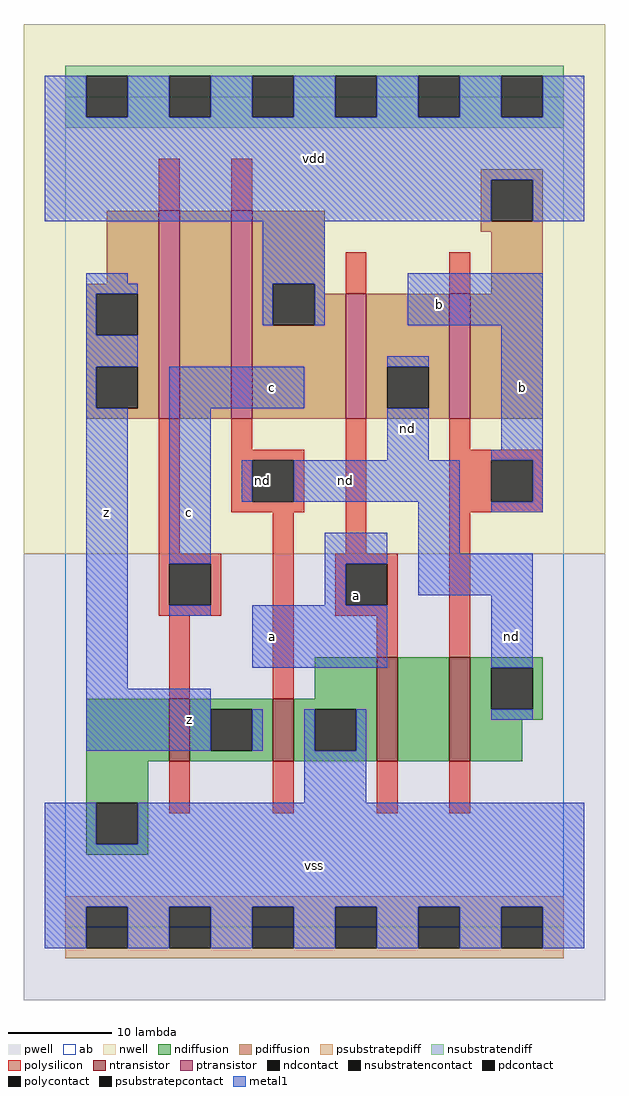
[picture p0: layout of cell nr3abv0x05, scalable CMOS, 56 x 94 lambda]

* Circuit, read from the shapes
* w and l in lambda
.subckt nr3abv0x05 a b c nd vdd vss z
M1 z c vss vss nfet w=6 l=2
M2 vss nd z vss nfet w=6 l=2
M3 n1 a vss vss nfet w=10 l=2
M4 nd b n1 vss nfet w=10 l=2
M5 n2 c z vdd pfet w=20 l=2
M6 vdd nd n2 vdd pfet w=20 l=2
M7 nd a vdd vdd pfet w=12 l=2
M8 vdd b nd vdd pfet w=12 l=2
.ends

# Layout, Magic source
magic
tech scmos
<< ab >>
rect 0 0 48 80
<< pwell >>
rect -4 -7 52 36
<< nwell >>
rect -4 36 52 87
<< polysilicon >>
rect 9 69 11 74
rect 16 69 18 74
rect 27 61 29 65
rect 37 61 39 65
rect 9 36 11 49
rect 16 46 18 49
rect 16 45 23 46
rect 16 41 18 45
rect 22 41 23 45
rect 16 40 23 41
rect 9 35 15 36
rect 9 31 10 35
rect 14 31 15 35
rect 9 30 15 31
rect 10 22 12 30
rect 20 22 22 40
rect 27 36 29 49
rect 37 46 39 49
rect 37 45 46 46
rect 37 41 41 45
rect 45 41 46 45
rect 37 40 46 41
rect 26 35 32 36
rect 26 31 27 35
rect 31 31 32 35
rect 26 30 32 31
rect 30 26 32 30
rect 37 26 39 40
rect 10 11 12 16
rect 20 11 22 16
rect 30 11 32 16
rect 37 11 39 16
<< ndiffusion >>
rect 24 22 30 26
rect 2 16 10 22
rect 12 21 20 22
rect 12 17 14 21
rect 18 17 20 21
rect 12 16 20 17
rect 22 21 30 22
rect 22 17 24 21
rect 28 17 30 21
rect 22 16 30 17
rect 32 16 37 26
rect 39 25 46 26
rect 39 21 41 25
rect 45 21 46 25
rect 39 20 46 21
rect 39 16 44 20
rect 2 12 8 16
rect 2 8 3 12
rect 7 8 8 12
rect 2 7 8 8
<< pdiffusion >>
rect 40 72 46 73
rect 4 62 9 69
rect 2 61 9 62
rect 2 57 3 61
rect 7 57 9 61
rect 2 54 9 57
rect 2 50 3 54
rect 7 50 9 54
rect 2 49 9 50
rect 11 49 16 69
rect 18 62 25 69
rect 40 68 41 72
rect 45 68 46 72
rect 40 67 46 68
rect 18 58 20 62
rect 24 61 25 62
rect 41 61 46 67
rect 24 58 27 61
rect 18 49 27 58
rect 29 54 37 61
rect 29 50 31 54
rect 35 50 37 54
rect 29 49 37 50
rect 39 49 46 61
<< metal1 >>
rect -2 78 2 82
rect 6 78 10 82
rect 14 78 18 82
rect 22 78 26 82
rect 30 78 34 82
rect 38 78 42 82
rect 46 78 50 82
rect -2 72 50 78
rect -2 68 41 72
rect 45 68 50 72
rect 2 62 6 63
rect 19 62 25 68
rect 2 61 7 62
rect 2 57 3 61
rect 19 58 20 62
rect 24 58 25 62
rect 33 58 46 63
rect 2 54 7 57
rect 31 54 35 55
rect 2 50 3 54
rect 10 50 23 54
rect 2 23 6 50
rect 10 35 14 50
rect 31 45 35 50
rect 42 46 46 58
rect 41 45 46 46
rect 17 41 18 45
rect 22 41 38 45
rect 25 35 31 38
rect 25 31 27 35
rect 34 36 38 41
rect 45 41 46 45
rect 41 40 46 41
rect 34 32 45 36
rect 10 30 14 31
rect 18 25 31 31
rect 41 25 45 32
rect 2 17 14 23
rect 18 17 19 21
rect 23 17 24 21
rect 28 17 29 21
rect 41 20 45 21
rect 23 12 29 17
rect -2 8 3 12
rect 7 8 50 12
rect -2 2 50 8
rect -2 -2 2 2
rect 6 -2 10 2
rect 14 -2 18 2
rect 22 -2 26 2
rect 30 -2 34 2
rect 38 -2 42 2
rect 46 -2 50 2
<< ntransistor >>
rect 10 16 12 22
rect 20 16 22 22
rect 30 16 32 26
rect 37 16 39 26
<< ptransistor >>
rect 9 49 11 69
rect 16 49 18 69
rect 27 49 29 61
rect 37 49 39 61
<< polycontact >>
rect 18 41 22 45
rect 10 31 14 35
rect 41 41 45 45
rect 27 31 31 35
<< ndcontact >>
rect 14 17 18 21
rect 24 17 28 21
rect 41 21 45 25
rect 3 8 7 12
<< pdcontact >>
rect 3 57 7 61
rect 3 50 7 54
rect 41 68 45 72
rect 20 58 24 62
rect 31 50 35 54
<< psubstratepcontact >>
rect 2 -2 6 2
rect 10 -2 14 2
rect 18 -2 22 2
rect 26 -2 30 2
rect 34 -2 38 2
rect 42 -2 46 2
<< nsubstratencontact >>
rect 2 78 6 82
rect 10 78 14 82
rect 18 78 22 82
rect 26 78 30 82
rect 34 78 38 82
rect 42 78 46 82
<< psubstratepdiff >>
rect 0 2 48 3
rect 0 -2 2 2
rect 6 -2 10 2
rect 14 -2 18 2
rect 22 -2 26 2
rect 30 -2 34 2
rect 38 -2 42 2
rect 46 -2 48 2
rect 0 -3 48 -2
<< nsubstratendiff >>
rect 0 82 48 83
rect 0 78 2 82
rect 6 78 10 82
rect 14 78 18 82
rect 22 78 26 82
rect 30 78 34 82
rect 38 78 42 82
rect 46 78 48 82
rect 0 77 48 78
<< labels >>
rlabel polycontact 19 43 19 43 6 nd
rlabel metal1 4 40 4 40 6 z
rlabel metal1 12 20 12 20 6 z
rlabel metal1 20 28 20 28 6 a
rlabel metal1 12 40 12 40 6 c
rlabel metal1 20 52 20 52 6 c
rlabel metal1 24 6 24 6 6 vss
rlabel polycontact 28 32 28 32 6 a
rlabel metal1 33 48 33 48 6 nd
rlabel metal1 24 74 24 74 6 vdd
rlabel metal1 43 28 43 28 6 nd
rlabel metal1 27 43 27 43 6 nd
rlabel metal1 44 52 44 52 6 b
rlabel metal1 36 60 36 60 6 b
<< end >>
